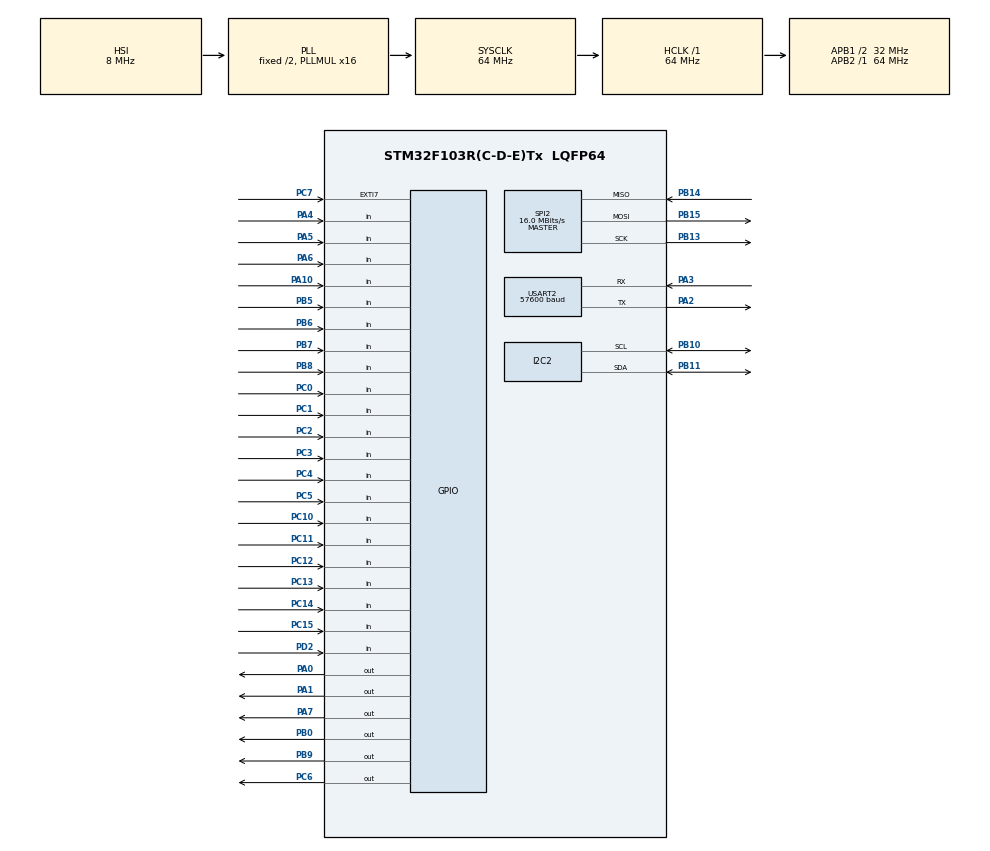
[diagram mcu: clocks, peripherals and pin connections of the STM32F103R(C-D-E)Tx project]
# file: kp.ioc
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Dma.Request0=TIM1_UP
Dma.Request1=TIM3_CH4/UP
Dma.TIM1_UP.0.Direction=DMA_MEMORY_TO_PERIPH
Dma.TIM1_UP.0.Instance=DMA1_Channel5
Dma.TIM1_UP.0.MemDataAlignment=DMA_MDATAALIGN_WORD
Dma.TIM1_UP.0.MemInc=DMA_MINC_ENABLE
Dma.TIM1_UP.0.Mode=DMA_CIRCULAR
Dma.TIM1_UP.0.PeriphDataAlignment=DMA_PDATAALIGN_WORD
Dma.TIM1_UP.0.PeriphInc=DMA_PINC_DISABLE
Dma.TIM1_UP.0.Priority=DMA_PRIORITY_LOW
Dma.TIM3_CH4/UP.1.Direction=DMA_MEMORY_TO_PERIPH
Dma.TIM3_CH4/UP.1.Instance=DMA1_Channel3
Dma.TIM3_CH4/UP.1.MemDataAlignment=DMA_MDATAALIGN_WORD
Dma.TIM3_CH4/UP.1.MemInc=DMA_MINC_ENABLE
Dma.TIM3_CH4/UP.1.Mode=DMA_CIRCULAR
Dma.TIM3_CH4/UP.1.PeriphDataAlignment=DMA_PDATAALIGN_WORD
Dma.TIM3_CH4/UP.1.PeriphInc=DMA_PINC_DISABLE
Dma.TIM3_CH4/UP.1.Priority=DMA_PRIORITY_LOW
Mcu.Family=STM32F1
Mcu.Name=STM32F103R(C-D-E)Tx
Mcu.Package=LQFP64
NVIC.DMA1_Channel3_IRQn=true\:0\:0\:false\:false\:true\:false\:true\:true
NVIC.DMA1_Channel5_IRQn=true\:0\:0\:false\:false\:true\:false\:true\:true
NVIC.PriorityGroup=NVIC_PRIORITYGROUP_4
NVIC.TIM1_UP_IRQn=true\:0\:0\:false\:false\:true\:true\:true\:true
NVIC.USART2_IRQn=true\:0\:0\:false\:false\:true\:true\:true\:true
PA0-WKUP.PinState=GPIO_PIN_SET
PA0-WKUP.Signal=GPIO_Output
PA1.PinState=GPIO_PIN_SET
PA1.Signal=GPIO_Output
PA10.GPIO_PuPd=GPIO_PULLUP
PA10.Signal=GPIO_Input
PA13.Mode=Serial_Wire
PA13.Signal=SYS_JTMS-SWDIO
PA14.Mode=Serial_Wire
PA14.Signal=SYS_JTCK-SWCLK
PA2.Mode=Asynchronous
PA2.Signal=USART2_TX
PA3.Mode=Asynchronous
PA3.Signal=USART2_RX
PA4.GPIO_PuPd=GPIO_PULLUP
PA4.Signal=GPIO_Input
PA5.GPIO_PuPd=GPIO_PULLUP
PA5.Signal=GPIO_Input
PA6.GPIO_PuPd=GPIO_PULLUP
PA6.Signal=GPIO_Input
PA7.Signal=GPIO_Output
PB0.PinState=GPIO_PIN_SET
PB0.Signal=GPIO_Output
PB10.Mode=I2C
PB10.Signal=I2C2_SCL
PB11.GPIO_Mode=GPIO_MODE_AF_OD
PB11.GPIO_Speed=GPIO_SPEED_FREQ_HIGH
PB11.Mode=I2C
PB11.Signal=I2C2_SDA
PB13.Mode=Full_Duplex_Master
PB13.Signal=SPI2_SCK
PB14.Mode=Full_Duplex_Master
PB14.Signal=SPI2_MISO
PB15.Mode=Full_Duplex_Master
PB15.Signal=SPI2_MOSI
PB5.GPIO_PuPd=GPIO_PULLUP
PB5.Signal=GPIO_Input
PB6.GPIO_PuPd=GPIO_PULLUP
PB6.Signal=GPIO_Input
PB7.GPIO_PuPd=GPIO_PULLUP
PB7.Signal=GPIO_Input
PB8.GPIO_PuPd=GPIO_PULLUP
PB8.Signal=GPIO_Input
PB9.PinState=GPIO_PIN_SET
PB9.Signal=GPIO_Output
PC0.Signal=GPIO_Input
PC1.GPIO_PuPd=GPIO_PULLUP
PC1.Signal=GPIO_Input
PC10.Signal=GPIO_Input
PC11.Signal=GPIO_Input
PC12.Signal=GPIO_Input
PC13-TAMPER-RTC.Signal=GPIO_Input
PC14-OSC32_IN.GPIO_PuPd=GPIO_PULLUP
PC14-OSC32_IN.Signal=GPIO_Input
PC15-OSC32_OUT.GPIO_PuPd=GPIO_PULLUP
PC15-OSC32_OUT.Signal=GPIO_Input
PC2.GPIO_PuPd=GPIO_PULLUP
PC2.Signal=GPIO_Input
PC3.GPIO_PuPd=GPIO_PULLUP
PC3.Signal=GPIO_Input
PC4.GPIO_PuPd=GPIO_PULLUP
PC4.Signal=GPIO_Input
PC5.GPIO_PuPd=GPIO_PULLUP
PC5.Signal=GPIO_Input
PC6.Signal=GPIO_Output
PC7.GPIO_ModeDefaultEXTI=GPIO_MODE_IT_FALLING
PC7.GPIO_PuPd=GPIO_PULLUP
PC7.Signal=GPXTI7
PD0-OSC_IN.Mode=HSE-External-Oscillator
PD0-OSC_IN.Signal=RCC_OSC_IN
PD1-OSC_OUT.Mode=HSE-External-Oscillator
PD1-OSC_OUT.Signal=RCC_OSC_OUT
PD2.Signal=GPIO_Input
ProjectManager.HeapSize=0x200
ProjectManager.StackSize=0x400
ProjectManager.TargetToolchain=STM32CubeIDE
RCC.AHBFreq_Value=64000000
RCC.APB1CLKDivider=RCC_HCLK_DIV2
RCC.APB1Freq_Value=32000000
RCC.APB1TimFreq_Value=64000000
RCC.APB2Freq_Value=64000000
RCC.APB2TimFreq_Value=64000000
RCC.HCLKFreq_Value=64000000
RCC.HSEDivPLL=RCC_HSE_PREDIV_DIV2
RCC.HSE_VALUE=16000000
RCC.PLLMUL=RCC_PLL_MUL16
RCC.SYSCLKFreq_VALUE=64000000
RCC.SYSCLKSource=RCC_SYSCLKSOURCE_PLLCLK
RCC.USBFreq_Value=64000000
SPI2.BaudRatePrescaler=SPI_BAUDRATEPRESCALER_2
SPI2.CalculateBaudRate=16.0 MBits/s
SPI2.Direction=SPI_DIRECTION_2LINES
SPI2.Mode=SPI_MODE_MASTER
SPI2.VirtualType=VM_MASTER
TIM1.Period=7
TIM1.Prescaler=7
TIM3.Period=7
TIM3.Prescaler=7
USART2.BaudRate=57600
USART2.VirtualMode=VM_ASYNC
VP_TIM1_VS_ClockSourceINT.Mode=Internal
VP_TIM3_VS_ClockSourceINT.Mode=Internal
board=custom

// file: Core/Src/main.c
/* USER CODE BEGIN Header */
/**
  ******************************************************************************
  * @file           : main.c
  * @brief          : Main program body
  ******************************************************************************
  * @attention
  *
  * Copyright (c) 2023 STMicroelectronics.
  * All rights reserved.
  *
  * This software is licensed under terms that can be found in the LICENSE file
  * in the root directory of this software component.
  * If no LICENSE file comes with this software, it is provided AS-IS.
  *
  ******************************************************************************
  */
/* USER CODE END Header */
#include "main.h"
#include "dma.h"
#include "i2c.h"
#include "spi.h"
#include "tim.h"
#include "usart.h"
#include "gpio.h"

/* USER CODE BEGIN Includes */
#include "wd.h"
#include <communication/communication.h>
#include <indication/indication.h>
#include <inputs.h>
#include <outputs.h>
#include <device.h>
#include "board.h"
/* USER CODE END Includes */

void SystemClock_Config(void);

int main(void)
{

  /* MCU Configuration--------------------------------------------------------*/

  /* Reset of all peripherals, Initializes the Flash interface and the Systick. */
  HAL_Init();

  /* Configure the system clock */
  SystemClock_Config();

  /* Initialize all configured peripherals */
  MX_GPIO_Init();
  MX_DMA_Init();
  MX_USART2_UART_Init();
  MX_SPI2_Init();
  MX_TIM1_Init();
  MX_I2C2_Init();
  MX_TIM3_Init();
  /* USER CODE BEGIN 2 */
  wd_init();
  communication_init();
  indication_init();

  /* USER CODE END 2 */

  /* Infinite loop */
  /* USER CODE BEGIN WHILE */

  while (1)
  {

	ext_wd_func();
	check_device_type_func();
	communication_func();

	enum DEVICE_TYPE type = get_device_type();
	bool health_led = check_device_health()==DEVICE_HEALTH_OK ? true : false;
	indication_health_led_func(health_led);

	if (type==DEVICE_TYPE_KDS) {
		inputs_func();
		uint16_t inputs = inputs_get_data(true);
		indication_set_leds(0, inputs&0xff);
		indication_set_leds(1, (inputs>>8)&0xff);
	}
	else if (type==DEVICE_TYPE_BTU) {
		outputs_func();
		outputs_check_func();

		uint16_t inputs = inputs_get_data(true);
		indication_set_leds(1, inputs&0xff);

		uint8_t errors = outputs_get_short_errors();
		indication_set_leds(0, ~errors);
		indication_set_leds(2, errors);
	}
	else {
	}

	indication_func();
	indication_rx_tx_led_func();
	program_reset_func();

    /* USER CODE END WHILE */

  }
}

void SystemClock_Config(void)
{
  RCC_OscInitTypeDef RCC_OscInitStruct = {0};
  RCC_ClkInitTypeDef RCC_ClkInitStruct = {0};

  /** Initializes the RCC Oscillators according to the specified parameters
  * in the RCC_OscInitTypeDef structure.
  */
  RCC_OscInitStruct.OscillatorType = RCC_OSCILLATORTYPE_HSI;
  RCC_OscInitStruct.HSIState = RCC_HSI_ON;
  RCC_OscInitStruct.HSICalibrationValue = RCC_HSICALIBRATION_DEFAULT;
  RCC_OscInitStruct.PLL.PLLState = RCC_PLL_ON;
  RCC_OscInitStruct.PLL.PLLSource = RCC_PLLSOURCE_HSI_DIV2;
  RCC_OscInitStruct.PLL.PLLMUL = RCC_PLL_MUL16;
  if (HAL_RCC_OscConfig(&RCC_OscInitStruct) != HAL_OK)
  {
    Error_Handler();
  }

  /** Initializes the CPU, AHB and APB buses clocks
  */
  RCC_ClkInitStruct.ClockType = RCC_CLOCKTYPE_HCLK|RCC_CLOCKTYPE_SYSCLK
                              |RCC_CLOCKTYPE_PCLK1|RCC_CLOCKTYPE_PCLK2;
  RCC_ClkInitStruct.SYSCLKSource = RCC_SYSCLKSOURCE_PLLCLK;
  RCC_ClkInitStruct.AHBCLKDivider = RCC_SYSCLK_DIV1;
  RCC_ClkInitStruct.APB1CLKDivider = RCC_HCLK_DIV2;
  RCC_ClkInitStruct.APB2CLKDivider = RCC_HCLK_DIV1;

  if (HAL_RCC_ClockConfig(&RCC_ClkInitStruct, FLASH_LATENCY_2) != HAL_OK)
  {
    Error_Handler();
  }
}

void Error_Handler(void)
{
  __disable_irq();
  while (1)
  {
  }
}
